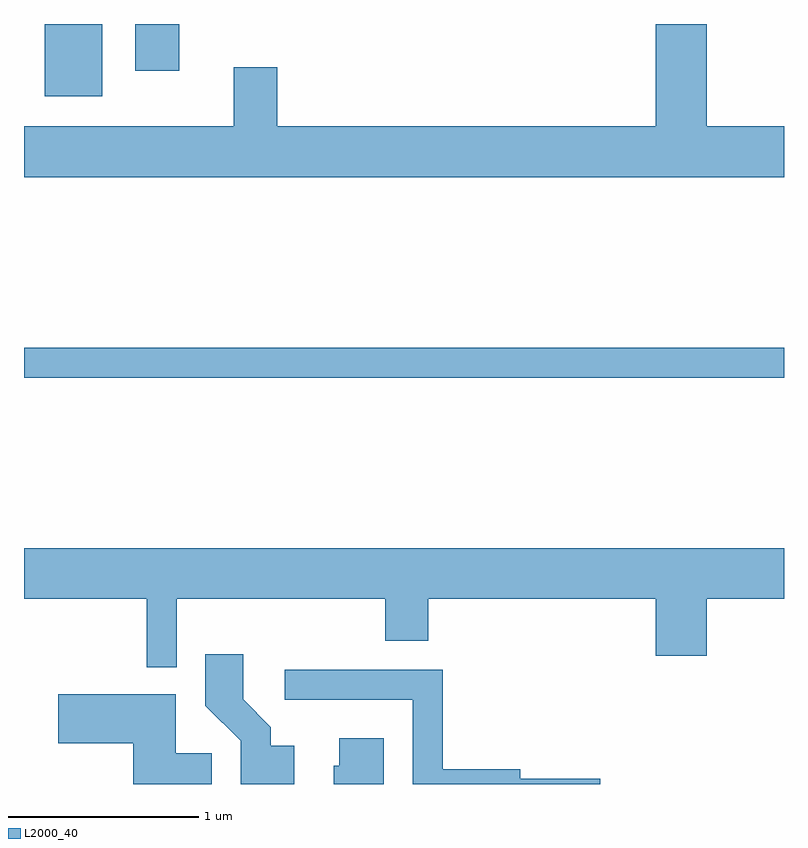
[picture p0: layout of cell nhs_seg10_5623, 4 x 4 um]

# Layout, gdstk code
import gdstk
lib = gdstk.Library(unit=1e-6, precision=1e-09)
def R(c, l, rs):  # rectangles x0, y0, x1, y1
    for r in rs: c.add(gdstk.rectangle(r[:2], r[2:], *l))
def P(c, l, *ps):  # polygons
    for p in ps: c.add(gdstk.Polygon(p, *l))
L2000_40 = (2000, 40)

nhs_seg10_5623 = lib.new_cell('nhs_seg10_5623')
R(nhs_seg10_5623, L2000_40, [(351.611,2090.661,355.611,2090.819), (351.721,2092.141,352.024,2092.522), (352.196,2092.276,352.429,2092.522)])
P(nhs_seg10_5623, L2000_40, [(355.611,2091.984),(355.204,2091.984),(355.204,2092.522),(354.936,2092.522),(354.936,2091.984),(352.944,2091.984),(352.944,2092.294),(352.716,2092.294),(352.716,2091.984),(351.611,2091.984),(351.611,2091.716),(355.611,2091.716)],
  [(352.414,2089.496),(353.511,2089.496),(353.511,2089.276),(353.739,2089.276),(353.739,2089.496),(354.936,2089.496),(354.936,2089.196),(355.204,2089.196),(355.204,2089.496),(355.611,2089.496),(355.611,2089.764),(351.611,2089.764),(351.611,2089.496),(352.256,2089.496),(352.256,2089.137),(352.414,2089.137)],
  [(353.034,2088.724),(352.909,2088.724),(352.909,2088.822),(352.764,2088.967),(352.764,2089.204),(352.566,2089.204),(352.566,2088.934),(352.751,2088.749),(352.751,2088.522),(353.034,2088.522)],
  [(354.644,2088.549),(354.224,2088.549),(354.224,2088.599),(353.814,2088.599),(353.814,2089.124),(352.983,2089.124),(352.983,2088.966),(353.656,2088.966),(353.656,2088.522),(354.644,2088.522)],
  [(352.599,2088.684),(352.409,2088.684),(352.409,2088.994),(351.791,2088.994),(351.791,2088.736),(352.186,2088.736),(352.186,2088.522),(352.599,2088.522)],
  [(353.504,2088.764),(353.271,2088.764),(353.271,2088.619),(353.241,2088.619),(353.241,2088.522),(353.504,2088.522)])

lib.write_gds('nhs_seg10_5623.gds')
